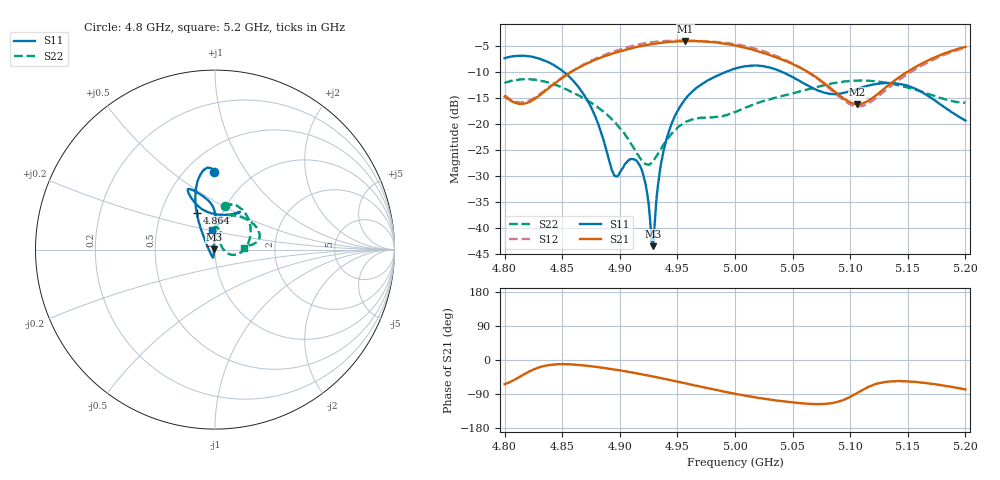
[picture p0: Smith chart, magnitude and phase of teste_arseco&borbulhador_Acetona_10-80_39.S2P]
! Network Analyzer HP8722D
! Hewlett-Packard
! Data name: Linha & Wilkinson
! Saver's name: Rodrigo Anjos
! Comments: Teste da utilização de aquisição
! continua pelo VNA HP8722D
! Time and date: 25/4/2025 15:35
!  Frequency  S11  S21  S12  S22
# HZ  S  MA R 50
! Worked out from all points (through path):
!   401 points, 4.8 GHz to 5.2 GHz, reference 50 ohm
!   highest |S21| = -3.96 dB at 4.957 GHz (marker M1); lowest = -16.1 dB at 5.106 GHz (marker M2)
!   lowest |S11| = -43.4 dB at 4.929 GHz (marker M3), VSWR 1.01, Z = 49.4 + j0.251 ohm
!   |S11| at or under -10 dB: 4.852 GHz to 4.991 GHz (139.1 MHz wide, 2.83 % of centre); 5.042 GHz to end of sweep
!   |S22| runs from -27.7 to -11.3 dB; largest |S21 - S12| = 1.2
!   S11 on the Smith chart (normalised r, x): 4.8 GHz: 0.68, +0.73; 4.864 GHz: 0.75, +0.33; 5.2 GHz: 0.94, +0.20
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4.8e9  0.4337 90.4  0.1859 -64.0  0.1911 69.6  0.2488 77.0
4.82e9  0.4524 96.8  0.1618 -32.5  0.1673 98.4  0.2727 61.8
4.843e9  0.3706 106.1  0.2463 -11.9  0.2493 118.8  0.2421 36.8
4.864e9  0.2301 116.3  0.3507 -12.8  0.3528 121.0  0.1905 12.0
4.867e9  0.2068 118.1  0.3643 -13.8  0.3687 120.7  0.1825 8.7
4.88e9  0.1096 128.6  0.4241 -18.4  0.4341 118.2  0.1489 -5.2
4.895e9  0.03249 -171.0  0.4861 -25.0  0.5032 113.7  0.1064 -16.1
4.909e9  0.04636 -106.0  0.5356 -32.1  0.5617 107.5  0.06729 -14.7
4.917e9  0.04066 -101.7  0.5629 -36.5  0.5906 103.5  0.04806 -1.4
4.922e9  0.02787 -104.1  0.577 -39.2  0.6032 100.7  0.04188 16.2
4.927e9  0.009475 -134.0  0.5891 -42.4  0.6174 97.5  0.04224 37.3
4.929e9  0.006745 157.9  0.5937 -43.6  0.6203 96.5  0.0441 44.6
4.934e9  0.03076 99.0  0.6056 -46.9  0.6295 93.2  0.05438 58.0
4.943e9  0.08834 90.3  0.6209 -52.6  0.6373 87.5  0.07634 69.1
4.957e9  0.1762 89.0  0.634 -61.6  0.6417 78.6  0.1051 71.6
5e9  0.3439 109.0  0.5747 -89.1  0.5936 50.7  0.1313 88.6
5.029e9  0.355 115.0  0.4709 -103.7  0.4864 34.2  0.1733 85.7
5.067e9  0.2256 105.0  0.3019 -115.9  0.2987 23.6  0.2228 57.3
5.106e9  0.2197 64.0  0.1565 -87.0  0.1485 55.9  0.263 24.8
5.134e9  0.2501 56.8  0.2411 -56.8  0.227 88.6  0.2477 12.4
5.168e9  0.1869 68.7  0.4139 -61.9  0.3977 85.3  0.1958 7.0
5.2e9  0.109 100.0  0.5556 -77.7  0.5465 70.1  0.161 3.9
